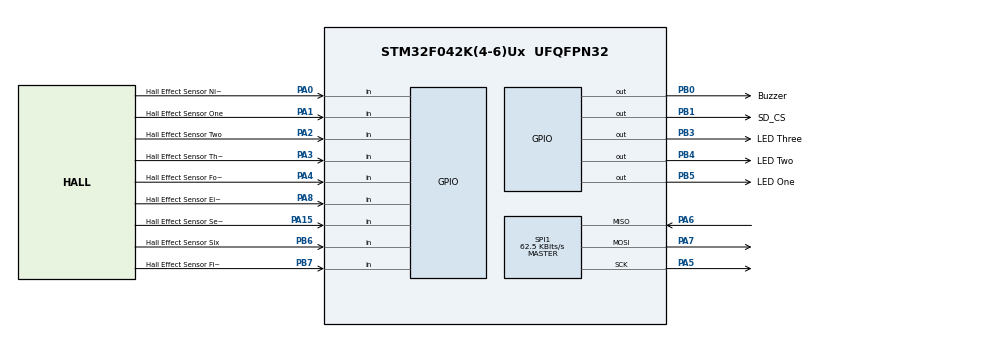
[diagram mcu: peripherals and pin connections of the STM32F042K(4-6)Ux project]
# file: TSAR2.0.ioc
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Mcu.Family=STM32F0
Mcu.Name=STM32F042K(4-6)Ux
Mcu.Package=UFQFPN32
PA0.GPIO_Label=Hall Effect Sensor Nine
PA0.GPIO_PuPd=GPIO_PULLUP
PA0.Signal=GPIO_Input
PA1.GPIO_Label=Hall Effect Sensor One
PA1.GPIO_PuPd=GPIO_PULLUP
PA1.Signal=GPIO_Input
PA15.GPIO_Label=Hall Effect Sensor Seven
PA15.GPIO_PuPd=GPIO_PULLUP
PA15.Signal=GPIO_Input
PA2.GPIO_Label=Hall Effect Sensor Two
PA2.GPIO_PuPd=GPIO_PULLUP
PA2.Signal=GPIO_Input
PA3.GPIO_Label=Hall Effect Sensor Three
PA3.GPIO_PuPd=GPIO_PULLUP
PA3.Signal=GPIO_Input
PA4.GPIO_Label=Hall Effect Sensor Four
PA4.GPIO_PuPd=GPIO_PULLUP
PA4.Signal=GPIO_Input
PA5.Mode=Full_Duplex_Master
PA5.Signal=SPI1_SCK
PA6.Mode=Full_Duplex_Master
PA6.Signal=SPI1_MISO
PA7.Mode=Full_Duplex_Master
PA7.Signal=SPI1_MOSI
PA8.GPIO_Label=Hall Effect Sensor Eight
PA8.GPIO_PuPd=GPIO_PULLUP
PA8.Signal=GPIO_Input
PB0.GPIO_Label=Buzzer
PB0.GPIO_ModeDefaultOutputPP=GPIO_MODE_OUTPUT_PP
PB0.GPIO_PuPd=GPIO_PULLDOWN
PB0.PinState=GPIO_PIN_SET
PB0.Signal=GPIO_Output
PB1.GPIO_Label=SD_CS
PB1.PinState=GPIO_PIN_SET
PB1.Signal=GPIO_Output
PB3.GPIO_Label=LED Three
PB3.GPIO_PuPd=GPIO_PULLDOWN
PB3.PinState=GPIO_PIN_SET
PB3.Signal=GPIO_Output
PB4.GPIO_Label=LED Two
PB4.GPIO_PuPd=GPIO_PULLDOWN
PB4.PinState=GPIO_PIN_SET
PB4.Signal=GPIO_Output
PB5.GPIO_Label=LED One
PB5.GPIO_PuPd=GPIO_PULLDOWN
PB5.PinState=GPIO_PIN_SET
PB5.Signal=GPIO_Output
PB6.GPIO_Label=Hall Effect Sensor Six
PB6.GPIO_PuPd=GPIO_PULLUP
PB6.Signal=GPIO_Input
PB7.GPIO_Label=Hall Effect Sensor Five
PB7.GPIO_PuPd=GPIO_PULLUP
PB7.Signal=GPIO_Input
ProjectManager.HeapSize=0x200
ProjectManager.StackSize=0x400
ProjectManager.TargetToolchain=STM32CubeIDE
SPI1.BaudRatePrescaler=SPI_BAUDRATEPRESCALER_128
SPI1.CalculateBaudRate=62.5 KBits/s
SPI1.DataSize=SPI_DATASIZE_8BIT
SPI1.Direction=SPI_DIRECTION_2LINES
SPI1.Mode=SPI_MODE_MASTER
SPI1.VirtualType=VM_MASTER
VP_FATFS_VS_Generic.Mode=User_defined
board=custom

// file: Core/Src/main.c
/* USER CODE BEGIN Header */
/**
 ******************************************************************************
 * @file           : main.c
 * @brief          : Main program body
 ******************************************************************************
 * @attention
 *
 * <h2><center>&copy; Copyright (c) 2020 STMicroelectronics.
 * All rights reserved.</center></h2>
 *
 * This software component is licensed by ST under BSD 3-Clause license,
 * the "License"; You may not use this file except in compliance with the
 * License. You may obtain a copy of the License at:
 *                        opensource.org/licenses/BSD-3-Clause
 *
 ******************************************************************************
 */
/* USER CODE END Header */
#include "main.h"
#include "fatfs.h"

/* USER CODE BEGIN Includes */
#include <string.h>
#include <unistd.h>
#include <stdlib.h>
#include <stdio.h>
/* USER CODE END Includes */

SPI_HandleTypeDef hspi1;

/* USER CODE BEGIN PV */

size_t accum = 0;

/* USER CODE END PV */

void SystemClock_Config(void);
static void MX_GPIO_Init(void);
static void MX_SPI1_Init(void);
/* USER CODE BEGIN PFP */

// Begin Katie's PFP

int mainCheck(int valveCState[], int valveExState[], int batteryState);

//this is the main for this part that will call all other functions
//Will return 0 if no errors were found
int checkState(int valveCState[], int valveExState[], int valvesInError[]);	//input is a placeholder as I don't know how we get valve info into function

//A valve state didn't match, so now we here
int errorFound(int valvesInError[]);

//Take read in valve states and make them usable
void fillStruct(int valveCState[], int valveExState[]);

//Main function for the checking
//It is expected that this is what a higher function calls to initiate check
int mainCheck(int valveCState[], int valveExState[], int batteryState);

//Just realized that I was just copying code in each error level
int isError(int valvesInError[], int errorLevel);

//Just turn on Buzzer
void buzzOn();

//just turn  off Buzzer
void buzzOff();

//Turn on a specific binary (top is MSB) on LED lights
void ledOn(int whichOn);

//Turn off all LEDs
void ledOff();

//Power failure has occured
void powerFailureState();

// End Katie's PFP

// Begin Tiffani's PFP

size_t SizeOfFile(char const *path);

void WriteFile(char const* fileName, char* buffer, size_t size);

/* USER CODE END PFP */

int main(void)
{
  /* USER CODE BEGIN 1 */

	// Begin Tiffani's variable definitions

	int sensorState[10];

	char writeBuffer[11];

  /* USER CODE END 1 */

  /* MCU Configuration--------------------------------------------------------*/

  /* Reset of all peripherals, Initializes the Flash interface and the Systick. */
  HAL_Init();

  /* USER CODE BEGIN Init */

	int safetyState[] = {0, 0, 1, 1, 1, 1, 1, 1, 1};

	char *file = "valveStateData.txt";

  /* USER CODE END Init */

  /* Configure the system clock */
  SystemClock_Config();

  /* Initialize all configured peripherals */
  MX_GPIO_Init();
  MX_SPI1_Init();
  MX_FATFS_Init();

  /* USER CODE BEGIN 2 */

	HAL_Delay(1000); //a short delay is important to let the SD card settle

	//some variables for FatFs
	FATFS FatFs; 	//Fatfs handle

	//Open the file system
	f_mount(&FatFs, "", 1); // 1=mount now

  /* USER CODE END 2 */

  /* Infinite loop */
  /* USER CODE BEGIN WHILE */
	while (1) {
		// Begin Tiffani's main program

		sensorState[0] = HAL_GPIO_ReadPin(GPIOA, Hall_Effect_Sensor_One_Pin);

		sensorState[1] = HAL_GPIO_ReadPin(GPIOA, Hall_Effect_Sensor_Two_Pin);

		sensorState[2] = HAL_GPIO_ReadPin(GPIOA, Hall_Effect_Sensor_Three_Pin);

		sensorState[3] = HAL_GPIO_ReadPin(GPIOA, Hall_Effect_Sensor_Four_Pin);

		sensorState[4] = HAL_GPIO_ReadPin(GPIOB, Hall_Effect_Sensor_Five_Pin);

		sensorState[5] = HAL_GPIO_ReadPin(GPIOB, Hall_Effect_Sensor_Six_Pin);

		sensorState[6] = HAL_GPIO_ReadPin(GPIOA, Hall_Effect_Sensor_Seven_Pin);

		sensorState[7] = HAL_GPIO_ReadPin(GPIOA, Hall_Effect_Sensor_Eight_Pin);

		sensorState[8] = HAL_GPIO_ReadPin(GPIOA, Hall_Effect_Sensor_Nine_Pin);

		sensorState[9] = 0;

		mainCheck(sensorState, safetyState, 0);

		for (int i = 0; i <= 9; i++)
		{
			writeBuffer[i] = (char)(sensorState[i] + 48);
		}

		WriteFile(file, writeBuffer, sizeof(writeBuffer));

		// End Tiffani's main program

    /* USER CODE END WHILE */

	}
}

void SystemClock_Config(void)
{
  RCC_OscInitTypeDef RCC_OscInitStruct = {0};
  RCC_ClkInitTypeDef RCC_ClkInitStruct = {0};

  /** Initializes the RCC Oscillators according to the specified parameters
  * in the RCC_OscInitTypeDef structure.
  */
  RCC_OscInitStruct.OscillatorType = RCC_OSCILLATORTYPE_HSI;
  RCC_OscInitStruct.HSIState = RCC_HSI_ON;
  RCC_OscInitStruct.HSICalibrationValue = RCC_HSICALIBRATION_DEFAULT;
  RCC_OscInitStruct.PLL.PLLState = RCC_PLL_NONE;
  if (HAL_RCC_OscConfig(&RCC_OscInitStruct) != HAL_OK)
  {
    Error_Handler();
  }
  /** Initializes the CPU, AHB and APB buses clocks
  */
  RCC_ClkInitStruct.ClockType = RCC_CLOCKTYPE_HCLK|RCC_CLOCKTYPE_SYSCLK
                              |RCC_CLOCKTYPE_PCLK1;
  RCC_ClkInitStruct.SYSCLKSource = RCC_SYSCLKSOURCE_HSI;
  RCC_ClkInitStruct.AHBCLKDivider = RCC_SYSCLK_DIV1;
  RCC_ClkInitStruct.APB1CLKDivider = RCC_HCLK_DIV1;

  if (HAL_RCC_ClockConfig(&RCC_ClkInitStruct, FLASH_LATENCY_0) != HAL_OK)
  {
    Error_Handler();
  }
}

static void MX_SPI1_Init(void)
{

  /* SPI1 parameter configuration*/
  hspi1.Instance = SPI1;
  hspi1.Init.Mode = SPI_MODE_MASTER;
  hspi1.Init.Direction = SPI_DIRECTION_2LINES;
  hspi1.Init.DataSize = SPI_DATASIZE_8BIT;
  hspi1.Init.CLKPolarity = SPI_POLARITY_LOW;
  hspi1.Init.CLKPhase = SPI_PHASE_1EDGE;
  hspi1.Init.NSS = SPI_NSS_SOFT;
  hspi1.Init.BaudRatePrescaler = SPI_BAUDRATEPRESCALER_128;
  hspi1.Init.FirstBit = SPI_FIRSTBIT_MSB;
  hspi1.Init.TIMode = SPI_TIMODE_DISABLE;
  hspi1.Init.CRCCalculation = SPI_CRCCALCULATION_DISABLE;
  hspi1.Init.CRCPolynomial = 7;
  hspi1.Init.CRCLength = SPI_CRC_LENGTH_DATASIZE;
  hspi1.Init.NSSPMode = SPI_NSS_PULSE_ENABLE;
  if (HAL_SPI_Init(&hspi1) != HAL_OK)
  {
    Error_Handler();
  }

}

static void MX_GPIO_Init(void)
{
  GPIO_InitTypeDef GPIO_InitStruct = {0};

  /* GPIO Ports Clock Enable */
  __HAL_RCC_GPIOA_CLK_ENABLE();
  __HAL_RCC_GPIOB_CLK_ENABLE();

  /*Configure GPIO pin Output Level */
  HAL_GPIO_WritePin(GPIOB, Buzzer_Pin|SD_CS_Pin|LED_Three_Pin|LED_Two_Pin
                          |LED_One_Pin, GPIO_PIN_SET);

  /*Configure GPIO pins : Hall_Effect_Sensor_Nine_Pin Hall_Effect_Sensor_One_Pin Hall_Effect_Sensor_Two_Pin Hall_Effect_Sensor_Three_Pin
                           Hall_Effect_Sensor_Four_Pin Hall_Effect_Sensor_Eight_Pin Hall_Effect_Sensor_Seven_Pin */
  GPIO_InitStruct.Pin = Hall_Effect_Sensor_Nine_Pin|Hall_Effect_Sensor_One_Pin|Hall_Effect_Sensor_Two_Pin|Hall_Effect_Sensor_Three_Pin
                          |Hall_Effect_Sensor_Four_Pin|Hall_Effect_Sensor_Eight_Pin|Hall_Effect_Sensor_Seven_Pin;
  GPIO_InitStruct.Mode = GPIO_MODE_INPUT;
  GPIO_InitStruct.Pull = GPIO_PULLUP;
  HAL_GPIO_Init(GPIOA, &GPIO_InitStruct);

  /*Configure GPIO pins : Buzzer_Pin LED_Three_Pin LED_Two_Pin LED_One_Pin */
  GPIO_InitStruct.Pin = Buzzer_Pin|LED_Three_Pin|LED_Two_Pin|LED_One_Pin;
  GPIO_InitStruct.Mode = GPIO_MODE_OUTPUT_PP;
  GPIO_InitStruct.Pull = GPIO_PULLDOWN;
  GPIO_InitStruct.Speed = GPIO_SPEED_FREQ_LOW;
  HAL_GPIO_Init(GPIOB, &GPIO_InitStruct);

  /*Configure GPIO pin : SD_CS_Pin */
  GPIO_InitStruct.Pin = SD_CS_Pin;
  GPIO_InitStruct.Mode = GPIO_MODE_OUTPUT_PP;
  GPIO_InitStruct.Pull = GPIO_NOPULL;
  GPIO_InitStruct.Speed = GPIO_SPEED_FREQ_LOW;
  HAL_GPIO_Init(SD_CS_GPIO_Port, &GPIO_InitStruct);

  /*Configure GPIO pins : Hall_Effect_Sensor_Six_Pin Hall_Effect_Sensor_Five_Pin */
  GPIO_InitStruct.Pin = Hall_Effect_Sensor_Six_Pin|Hall_Effect_Sensor_Five_Pin;
  GPIO_InitStruct.Mode = GPIO_MODE_INPUT;
  GPIO_InitStruct.Pull = GPIO_PULLUP;
  HAL_GPIO_Init(GPIOB, &GPIO_InitStruct);

}

/* USER CODE BEGIN 4 */

// Begin Katie's PF's

int mainCheck(int valveCState[], int valveExState[], int batteryState)
{
	//For tracking error status, only says that we have an error
	int errorButton = 0;

	//Keeps track of which state of error that we are in
	//0 = all good, 1 = minor error, 2 = bigger error, 3 = major error, 4 = power failure
	int errorState = 0;

	//array keeps track of which valves are in error
	int valvesInError[] = {0, 0, 0, 0, 0, 0, 0, 0, 0, 0}; //0 = good, 1 = error

	valvesInError[9] = batteryState;

	errorButton = checkState(valveCState, valveExState, valvesInError);

	if(errorButton == 1)
		{
			errorState = errorFound(valvesInError);
			isError(valvesInError, errorState);
		}
		//clear any errors that may have been occurring
		if(errorButton == 0)
		{
			buzzOff();
			ledOff();
			errorState = 0;
		}

		return errorState;
	}

//returns error level (0-4)
int checkState(int valveCState[], int valveExState[], int valvesInError[]) {
	//If 1, then an error has occured
	int errorButton = 0;

	//checking each valve for an error
	if (valveCState[0] != valveExState[0]) {
		errorButton = 1;
		valvesInError[0] = 1;
	}
	if (valveCState[1] != valveExState[1]) {
		errorButton = 1;
		valvesInError[1] = 1;
	}
	if (valveCState[2] != valveExState[2]) {
		errorButton = 1;
		valvesInError[2] = 1;
	}
	if (valveCState[3] != valveExState[3]) {
		errorButton = 1;
		valvesInError[3] = 1;
	}
	if (valveCState[4] != valveExState[4]) {
		errorButton = 1;
		valvesInError[4] = 1;
	}
	if (valveCState[5] != valveExState[5]) {
		errorButton = 1;
		valvesInError[5] = 1;
	}
	if (valveCState[6] != valveExState[6]) {
		errorButton = 1;
		valvesInError[6] = 1;
	}
	if (valveCState[7] != valveExState[7]) {
		errorButton = 1;
		valvesInError[7] = 1;
	}
	if (valveCState[8] != valveExState[8]) {
		errorButton = 1;
		valvesInError[8] = 1;
	}
	if (valvesInError[9] == 1) {
		errorButton = 1;
	}

	return errorButton;
}

//when in doubt, error out
//returns a value depending on which level of error is found
int errorFound(int valvesInError[]) {
	int errorLevel = 0;
	//index - priority
// PV_L02		//4 - 1
// PV_L03		//5 - 2
// PV_F02		//2 - 3
// PV_L01		//3 - 4
// PV_F01		//1 - 5
// SOV_F01		//0 - 6
// PV_LF01		//8 - 7
// PV_P01		//6 - 8
// PV_P02		//7 - 9
//Error level is set to highest prior valve
	if (valvesInError[7])
		errorLevel = 1;
	if (valvesInError[6])
		errorLevel = 1;
	if (valvesInError[8])
		errorLevel = 1;
	if (valvesInError[0])
		errorLevel = 1;
	if (valvesInError[1])
		errorLevel = 2;
	if (valvesInError[3])
		errorLevel = 2;
	if (valvesInError[2])
		errorLevel = 2;
	if (valvesInError[5])
		errorLevel = 3;
	if (valvesInError[4])
		errorLevel = 3;
	if (valvesInError[9]) //power failure on battery, nothing else matters
		errorLevel = 4;

	return errorLevel;
}

int isError(int valvesInError[], int errorLevel) {
	//The buzzer doesn't get turned off until error is cleared
	buzzOn();

	if (errorLevel == 4) {
		powerFailureState(); //It is currently not expected that we can return from this state without a restart
		return 1;
	}

	int i = 0;
	for (i = 0; i < 6; ++i) {
		ledOn(errorLevel);
		HAL_Delay(1000);
		ledOff();
		HAL_Delay(1000);
	}

	for (i = 0; i < 9; ++i) {
		if (valvesInError[i] == 1) {
			ledOn(i);
			HAL_Delay(1000);
			ledOff();
		}
	}
	ledOn(errorLevel);
	return 0;
}

void buzzOn() {
	HAL_GPIO_WritePin(GPIOB, Buzzer_Pin, GPIO_PIN_SET);
}

void buzzOff() {
	HAL_GPIO_WritePin(GPIOB, Buzzer_Pin, GPIO_PIN_RESET);
}

void ledOn(int whichOn) {
	//6,7,8 all have same light error
	if ((whichOn == 7) || (whichOn == 8))
		whichOn = 6;
	++whichOn; //change from index to actual number displayed in binary on LEDs

	//add a check for bottom 3 prio as they all get same code
	//printf for debugging outside of board
	//will comment out in board testing
	printf("LED %d ON\n", whichOn);
	if (whichOn == 7) {
		HAL_GPIO_WritePin(GPIOB, LED_Three_Pin, GPIO_PIN_SET);
		HAL_GPIO_WritePin(GPIOB, LED_Two_Pin, GPIO_PIN_SET);
		HAL_GPIO_WritePin(GPIOB, LED_One_Pin, GPIO_PIN_SET);
	}
	if (whichOn == 6) {
		HAL_GPIO_WritePin(GPIOB, LED_Three_Pin, GPIO_PIN_SET);
		HAL_GPIO_WritePin(GPIOB, LED_Two_Pin, GPIO_PIN_SET);
	}
	if (whichOn == 5) {
		HAL_GPIO_WritePin(GPIOB, LED_Three_Pin, GPIO_PIN_SET);
		HAL_GPIO_WritePin(GPIOB, LED_One_Pin, GPIO_PIN_SET);
	}
	if (whichOn == 4) {
		HAL_GPIO_WritePin(GPIOB, LED_Three_Pin, GPIO_PIN_SET);
	}
	if (whichOn == 3) {
		HAL_GPIO_WritePin(GPIOB, LED_Two_Pin, GPIO_PIN_SET);
		HAL_GPIO_WritePin(GPIOB, LED_One_Pin, GPIO_PIN_SET);
	}
	if (whichOn == 2) {
		HAL_GPIO_WritePin(GPIOB, LED_Two_Pin, GPIO_PIN_SET);
	}
	if (whichOn == 1) {
		HAL_GPIO_WritePin(GPIOB, LED_One_Pin, GPIO_PIN_SET);
	}
}

void ledOff() {
	HAL_GPIO_WritePin(GPIOB, LED_One_Pin, GPIO_PIN_RESET);
	HAL_GPIO_WritePin(GPIOB, LED_Two_Pin, GPIO_PIN_RESET);
	HAL_GPIO_WritePin(GPIOB, LED_Three_Pin, GPIO_PIN_RESET);

}

//goes down 3-2-1 continually
void powerFailureState() {
	while (1) {
		ledOn(2);
		HAL_Delay(1000);
		ledOff();

		ledOn(1);
		HAL_Delay(1000);
		ledOff();

		ledOn(0);
		HAL_Delay(1000);
		ledOff();
	}
}

// End Katie's PF's

// Begin Tiffani's PF's

size_t SizeOfFile(char const *path)
{
    FILE *fp = fopen(path, "r");
    fseek(fp, 0, SEEK_END);
    size_t fsize = (size_t) ftell(fp);
    fclose(fp);
    return fsize;
}

void WriteFile(char const* fileName, char* buffer, size_t size)
{
    char Buffer_logger[11];
    memcpy(Buffer_logger, buffer, size);

    unsigned int BytesWr;
    FIL file; 		//File handle
    f_open(&file, fileName, FA_CREATE_ALWAYS | FA_WRITE | FA_CREATE_ALWAYS);

    while (SizeOfFile(fileName) == 0)
    {
        // Open log for writing
        f_open(&file, fileName, FA_WRITE);

        // Point to the EOF
        f_lseek(&file, accum);

        // Write to log
        f_write(&file, (const void*) Buffer_logger, size, &BytesWr);

        accum += accum + strlen(Buffer_logger);

        //Close file.
        f_close(&file);
    }
}

/* USER CODE END 4 */

void Error_Handler(void)
{
}

/************************ (C) COPYRIGHT STMicroelectronics *****END OF FILE****/
